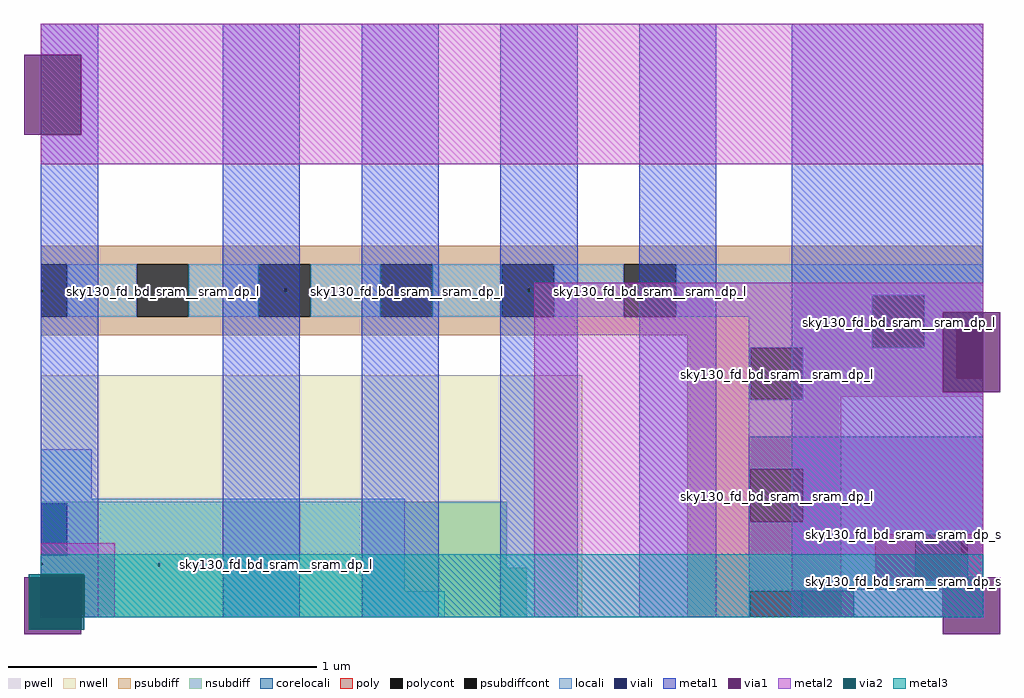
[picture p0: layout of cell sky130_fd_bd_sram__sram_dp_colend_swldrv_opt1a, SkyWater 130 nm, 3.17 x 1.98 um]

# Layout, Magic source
magic
tech sky130A
magscale 1 2
<< polycont >>
rect 597 24 601 53
<< locali >>
rect 567 54 601 56
rect 567 22 597 24
use sky130_fd_bd_sram__sram_dp_colend_swldrv_met23  sky130_fd_bd_sram__sram_dp_colend_swldrv_met23_0
transform 1 0 0 0 1 0
box -11 -11 622 385
use sky130_fd_bd_sram__sram_dp_swldrv_opt1_poly_siz_optb  sky130_fd_bd_sram__sram_dp_swldrv_opt1_poly_siz_optb_0
transform 1 0 559 0 -1 54
box 0 0 1 1
use sky130_fd_bd_sram__sram_dp_swldrv_opt1_poly_siz_opta  sky130_fd_bd_sram__sram_dp_swldrv_opt1_poly_siz_opta_0
transform 1 0 559 0 -1 24
box 0 0 1 1
use sky130_fd_bd_sram__sram_dp_colend_swldrv  sky130_fd_bd_sram__sram_dp_colend_swldrv_0
transform 1 0 611 0 1 0
box -611 0 0 385
<< properties >>
string GDS_FILE sky130_fd_bd_sram__sram_dp_colend_swldrv_opt1a.gds
string GDS_END 5686
string GDS_START 5384
<< end >>

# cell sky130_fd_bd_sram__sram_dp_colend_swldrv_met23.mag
magic
tech sky130A
magscale 1 2
<< via1 >>
rect -11 313 26 365
rect 585 146 622 198
rect -11 -11 26 26
rect 585 -11 622 26
<< metal2 >>
rect 0 365 611 385
rect 26 313 611 365
rect 0 294 611 313
rect 320 198 611 217
rect 320 146 585 198
rect 0 28 48 48
rect 28 0 48 28
rect 320 26 611 146
rect 320 0 585 26
<< via2 >>
rect -8 26 28 28
rect -8 -8 26 26
rect 26 -8 28 26
<< metal3 >>
rect 0 28 611 41
rect 28 0 611 28
<< properties >>
string GDS_FILE sky130_fd_bd_sram__sram_dp_colend_swldrv_met23.gds
string GDS_END 762
string GDS_START 182
<< end >>

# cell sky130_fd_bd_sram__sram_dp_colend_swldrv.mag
magic
tech sky130A
magscale 1 2
<< nwell >>
rect -611 0 -260 157
<< pwell >>
rect -611 183 0 241
rect -192 143 0 183
rect -192 40 -92 143
<< psubdiff >>
rect -611 229 0 241
rect -594 195 -549 229
rect -515 195 -470 229
rect -436 195 -391 229
rect -357 195 -312 229
rect -278 195 -233 229
rect -199 209 0 229
rect -199 195 -72 209
rect -611 183 -72 195
rect -192 175 -72 183
rect -38 175 0 209
rect -192 141 -151 175
rect -117 143 0 175
rect -117 141 -92 143
rect -192 96 -92 141
rect -192 62 -151 96
rect -117 62 -92 96
rect -192 40 -92 62
<< psubdiffcont >>
rect -611 195 -594 229
rect -549 195 -515 229
rect -470 195 -436 229
rect -391 195 -357 229
rect -312 195 -278 229
rect -233 195 -199 229
rect -72 175 -38 209
rect -151 141 -117 175
rect -151 62 -117 96
rect -151 0 -117 17
<< poly >>
rect -70 24 -44 54
rect -10 53 0 54
rect -14 24 0 53
<< polycont >>
rect -44 53 -10 54
rect -44 24 -14 53
<< locali >>
rect -594 195 -549 229
rect -515 195 -470 229
rect -436 195 -391 229
rect -357 195 -312 229
rect -278 195 -233 229
rect -199 209 0 229
rect -199 195 -72 209
rect -152 175 -72 195
rect -38 189 0 209
rect -38 175 -17 189
rect -152 141 -151 175
rect -117 155 -17 175
rect -117 141 0 155
rect -152 117 0 141
<< corelocali >>
rect -152 96 0 117
rect -152 62 -151 96
rect -117 62 0 96
rect -152 54 0 62
rect -152 24 -44 54
rect -10 53 0 54
rect -152 18 -14 24
rect -152 17 -84 18
rect -152 0 -151 17
<< viali >>
rect -17 155 0 189
rect -118 0 -117 17
rect -117 0 -84 17
<< metal1 >>
rect -611 0 -574 385
rect -493 0 -443 385
rect -403 0 -353 385
rect -313 0 -263 385
rect -223 0 -173 385
rect -124 189 0 385
rect -124 155 -17 189
rect -124 17 0 155
rect -124 0 -118 17
rect -84 0 0 17
use sky130_fd_bd_sram__sram_dp_cell_poly_srf_opta  sky130_fd_bd_sram__sram_dp_cell_poly_srf_opta_0
transform 1 0 -52 0 1 54
box 0 0 1 1
use sky130_fd_bd_sram__sram_dp_mcon_05  sky130_fd_bd_sram__sram_dp_mcon_05_0
transform 0 1 -611 1 0 57
box -17 0 17 17
use sky130_fd_bd_sram__sram_dp_licon_1  sky130_fd_bd_sram__sram_dp_licon_1_7
transform 1 0 -134 0 1 79
box 0 -1 1 1
use sky130_fd_bd_sram__sram_dp_colend_li_drop  sky130_fd_bd_sram__sram_dp_colend_li_drop_0
transform 1 0 -14 0 1 53
box 0 0 1 1
use sky130_fd_bd_sram__sram_dp_licon_1  sky130_fd_bd_sram__sram_dp_licon_1_6
transform 1 0 -55 0 1 192
box 0 -1 1 1
use sky130_fd_bd_sram__sram_dp_licon_1  sky130_fd_bd_sram__sram_dp_licon_1_5
transform 1 0 -216 0 1 212
box 0 -1 1 1
use sky130_fd_bd_sram__sram_dp_licon_1  sky130_fd_bd_sram__sram_dp_licon_1_4
transform 1 0 -295 0 1 212
box 0 -1 1 1
use sky130_fd_bd_sram__sram_dp_licon_1  sky130_fd_bd_sram__sram_dp_licon_1_3
transform 1 0 -374 0 1 212
box 0 -1 1 1
use sky130_fd_bd_sram__sram_dp_licon_1  sky130_fd_bd_sram__sram_dp_licon_1_2
transform 1 0 -453 0 1 212
box 0 -1 1 1
use sky130_fd_bd_sram__sram_dp_licon_1  sky130_fd_bd_sram__sram_dp_licon_1_1
transform 1 0 -134 0 1 158
box 0 -1 1 1
use sky130_fd_bd_sram__sram_dp_licon_1  sky130_fd_bd_sram__sram_dp_licon_1_0
transform 1 0 -532 0 1 212
box 0 -1 1 1
use sky130_fd_bd_sram__sram_dp_licon_05  sky130_fd_bd_sram__sram_dp_licon_05_0
transform 0 1 -611 -1 0 212
box 0 0 1 1
use sky130_fd_bd_sram__sram_dp_swldrv_tap  sky130_fd_bd_sram__sram_dp_swldrv_tap_0
transform 1 0 -611 0 -1 47
box 0 -62 519 47
<< properties >>
string GDS_FILE sky130_fd_bd_sram__sram_dp_colend_swldrv.gds
string GDS_END 4210
string GDS_START 1848
<< end >>

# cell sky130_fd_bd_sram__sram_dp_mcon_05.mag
magic
tech sky130A
magscale 1 2
<< viali >>
rect -17 0 17 17
<< properties >>
string GDS_FILE sky130_fd_bd_sram__sram_dp_mcon_05.gds
string GDS_END 226
string GDS_START 158
<< end >>

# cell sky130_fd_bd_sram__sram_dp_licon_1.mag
magic
tech sky130A
magscale 1 2
use sky130_fd_bd_sram__sram_dp_licon_05  sky130_fd_bd_sram__sram_dp_licon_05_0
transform 1 0 0 0 -1 0
box 0 0 1 1
use sky130_fd_bd_sram__sram_dp_licon_05  sky130_fd_bd_sram__sram_dp_licon_05_1
transform 1 0 0 0 1 0
box 0 0 1 1
<< properties >>
string GDS_FILE sky130_fd_bd_sram__sram_dp_licon_1.gds
string GDS_END 424
string GDS_START 294
<< end >>

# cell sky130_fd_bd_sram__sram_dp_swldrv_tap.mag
magic
tech sky130A
magscale 1 2
<< pwell >>
rect 0 15 315 47
rect 0 -28 302 15
rect 419 7 519 47
<< psubdiff >>
rect 419 7 519 47
<< nsubdiff >>
rect 0 15 315 47
rect 0 -28 302 15
<< locali >>
rect 0 30 262 47
rect 0 -30 236 30
rect 0 -62 33 -30
use sky130_fd_bd_sram__sram_dp_licon_1  sky130_fd_bd_sram__sram_dp_licon_1_0
transform 1 0 152 0 1 13
box 0 -1 1 1
use sky130_fd_bd_sram__sram_dp_licon_1  sky130_fd_bd_sram__sram_dp_licon_1_1
transform 1 0 76 0 1 13
box 0 -1 1 1
use sky130_fd_bd_sram__sram_dp_licon_05  sky130_fd_bd_sram__sram_dp_licon_05_0
transform 0 1 0 -1 0 13
box 0 0 1 1
<< properties >>
string GDS_FILE sky130_fd_bd_sram__sram_dp_swldrv_tap.gds
string GDS_END 1288
string GDS_START 498
<< end >>
